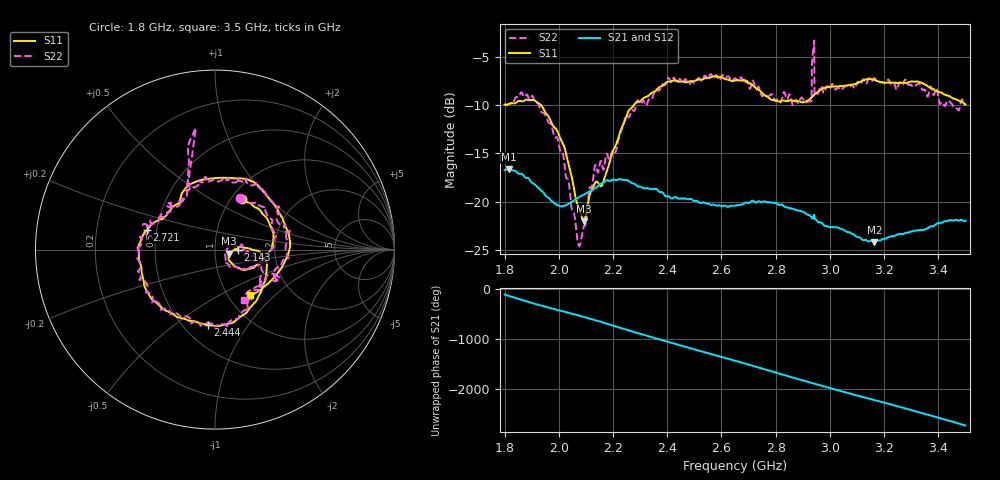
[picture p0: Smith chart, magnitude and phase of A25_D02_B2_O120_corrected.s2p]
! Created with skrf 1.9.0 (http://scikit-rf.org).
# Hz S RI R 50.0
!freq ReS11 ImS11 ReS21 ImS21 ReS12 ImS12 ReS22 ImS22
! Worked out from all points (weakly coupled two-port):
!   1601 points, 1.8 GHz to 3.5 GHz, reference 50 ohm
!   highest |S21| = -16.64 dB at 1.816 GHz (marker M1); lowest = -24.2 dB at 3.164 GHz (marker M2)
!   lowest |S11| = -22.0 dB at 2.092 GHz (marker M3), VSWR 1.17, Z = 58.1 - j2.74 ohm
!   |S11| at or under -10 dB: 1.935 GHz to 2.276 GHz (341.2 MHz wide, 16.2 % of centre)
!   |S22| runs from -24.6 to -3.3 dB; largest |S21 - S12| = 0.0025
!   S11 on the Smith chart (normalised r, x): 1.8 GHz: 1.12, +0.70; 2.143 GHz: 1.29, -0.01; 2.444 GHz: 0.66, -0.67; 2.721 GHz: 0.44, +0.11; 3.5 GHz: 1.26, -0.71
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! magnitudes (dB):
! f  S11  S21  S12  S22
! 1.8 GHz  -9.9  -16.7  -16.7  -9.9
! 1.816 GHz  -9.9  -16.6  -16.6  -9.9
! 1.902 GHz  -9.4  -18.1  -18.0  -9.0
! 1.968 GHz  -11.5  -19.8  -19.8  -11.9
! 2.02 GHz  -14.3  -20.4  -20.4  -15.9
! 2.071 GHz  -20.4  -19.6  -19.6  -24.3
! 2.084 GHz  -21.5  -19.4  -19.4  -23.7
! 2.092 GHz  -22.0  -19.2  -19.3  -22.6
! 2.143 GHz  -18.0  -18.4  -18.4  -17.0
! 2.209 GHz  -14.2  -17.8  -17.7  -14.9
! 2.259 GHz  -10.5  -17.9  -17.9  -11.2
! 2.367 GHz  -8.2  -18.9  -18.8  -8.5
! 2.444 GHz  -7.5  -19.7  -19.7  -7.4
! 2.65 GHz  -7.4  -20.4  -20.4  -7.2
! 2.721 GHz  -8.1  -20.0  -19.9  -7.8
! 2.918 GHz  -9.5  -21.3  -21.3  -9.7
! 2.934 GHz  -9.2  -21.7  -21.7  -5.7
! 2.942 GHz  -8.9  -21.4  -21.3  -3.3
! 2.952 GHz  -8.7  -22.0  -21.9  -8.7
! 3.164 GHz  -7.4  -24.2  -24.1  -7.2
! 3.217 GHz  -7.7  -23.7  -23.6  -7.4
! 3.5 GHz  -9.9  -22.0  -22.0  -9.8
